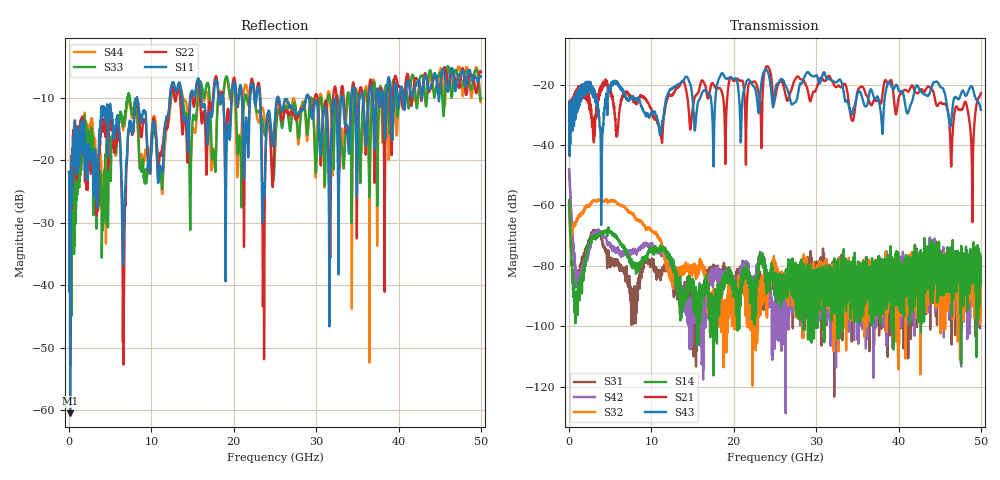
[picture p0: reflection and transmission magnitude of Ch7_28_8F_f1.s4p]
!Agilent Technologies,N5247A,US51170199,A.09.90.13
!Agilent N5247A: A.09.90.13
!Date: Wednesday, December 09, 2015 09:41:37
!Correction: S11(Full 4 Port(1,2,3,4))
!S12(Full 4 Port(1,2,3,4))
!S13(Full 4 Port(1,2,3,4))
!S14(Full 4 Port(1,2,3,4))
!S21(Full 4 Port(1,2,3,4))
!S22(Full 4 Port(1,2,3,4))
!S23(Full 4 Port(1,2,3,4))
!S24(Full 4 Port(1,2,3,4))
!S31(Full 4 Port(1,2,3,4))
!S32(Full 4 Port(1,2,3,4))
!S33(Full 4 Port(1,2,3,4))
!S34(Full 4 Port(1,2,3,4))
!S41(Full 4 Port(1,2,3,4))
!S42(Full 4 Port(1,2,3,4))
!S43(Full 4 Port(1,2,3,4))
!S44(Full 4 Port(1,2,3,4))
!S4P File: Measurements: <S11,S12,S13,S14>,
!<S21,S22,S23,S24>,
!<S31,S32,S33,S34>,
!<S41,S42,S43,S44>:
# Hz S  dB  R 50
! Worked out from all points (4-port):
!   3201 points, 10 MHz to 50 GHz, reference 50 ohm
!   strongest paths, dB at 10 MHz, 12.51 GHz, 25 GHz, 37.5 GHz, 50 GHz:
!     S43: -33.0, -21.3, -22.4, -24.1, -28.4
!     S21: -32.5, -23.5, -24.8, -25.2, -22.9
!     S14: -58.3, -78.3, -83.1, -95.9, -85.5
!     S32: -60.2, -84.0, -80.0, -82.6, -86.7
!     S42: -48.0, -79.9, -94.7, -83.8, -89.9
!     S31: -48.3, -84.4, -88.0, -84.4, -82.4
!   lowest |S11| = -60.5 dB at 135 MHz (marker M1), VSWR 1.00, Z = 50 + j0.0826 ohm
!   |S11| at or under -10 dB: start of sweep to 8.236 GHz; 8.271 GHz to 12.25 GHz (3.982 GHz wide, 38.8 % of centre); 29.14 GHz to 33.03 GHz (3.891 GHz wide, 12.5 % of centre)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
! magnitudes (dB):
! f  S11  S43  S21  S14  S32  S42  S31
! 10 MHz  -21.9  -33.0  -32.5  -58.3  -60.2  -48.0  -48.3
! 135 MHz  -60.5  -31.8  -32.8  -67.5  -72.5  -55.3  -55.2
! 978.6 MHz  -21.2  -25.7  -27.2  -94.2  -65.0  -86.7  -85.2
! 6.649 GHz  -31.8  -22.7  -23.4  -73.2  -60.1  -75.6  -81.3
! 8.196 GHz  -10.1  -25.0  -26.5  -80.9  -64.7  -75.1  -90.7
! 23.65 GHz  -24.2  -15.9  -17.4  -77.5  -85.7  -78.2  -90.2
! 50 GHz  -6.5  -28.4  -22.9  -85.5  -86.7  -89.9  -82.4
